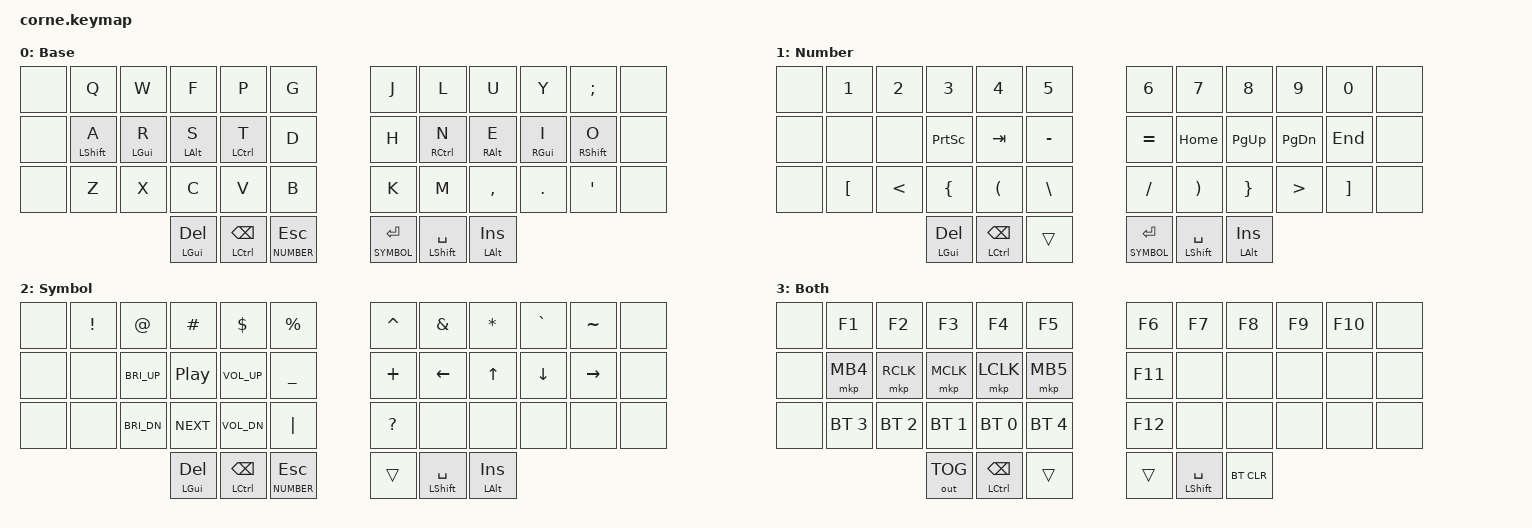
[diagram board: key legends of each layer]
/* vim: set filetype=dts : */
/* TODO: Fix layout in comment */
/* TODO: Investigate display customization once it's released */
/* TODO: Add mouse emulation once it's fully supported */
/* TODO: Add the game/qwerty layout and its layers (numbers/fn keys, mirror of right side) */
/* Use Number layer del or Symbol layer ins key to trigger, thumb key for mirror? */

/*
 * Copyright (c) 2020 The ZMK Contributors
 *
 * SPDX-License-Identifier: MIT
 */

#include <behaviors.dtsi>
#include <dt-bindings/zmk/keys.h>
#include <dt-bindings/zmk/bt.h>
#include <dt-bindings/zmk/mouse.h>
#include <dt-bindings/zmk/outputs.h>

#define BASE   0
#define NUMBER 1
#define SYMBOL 2
#define BOTH   3
// #define GAME   4


/ {
        conditional_layers {
          compatible = "zmk,conditional-layers";
          both_layer {
              if-layers = <1 2>;
              then-layer = <3>;
          };
        };
        behaviors {
          pt: preferred_mod_tap {
              compatible = "zmk,behavior-hold-tap";
              #binding-cells = <2>;
              flavor = "tap-preferred";
              tapping-term-ms = <180>;
              quick-tap-ms = <180>;
              require-prior-idle-ms = <110>;
              bindings = <&kp>, <&kp>;
          };
          tt: thumb_mod_tap {
              compatible = "zmk,behavior-hold-tap";
              #binding-cells = <2>;
              flavor = "balanced";
              tapping-term-ms = <180>;
              quick-tap-ms = <180>;
              // require-prior-idle-ms = <110>; // <-- Check if this is necessary
              bindings = <&kp>, <&kp>;

          };
        };
        keymap {
                compatible = "zmk,keymap";

                default_layer {
// -----------------------------------------------------------------------------------------
// |  TAB |  Q  |  W  |  E  |  R  |  T  |   |  Y  |  U   |  I  |  O  |  P  | BKSP |
// | CTRL |  A  |  S  |  D  |  F  |  G  |   |  H  |  J   |  K  |  L  |  ;  |  '   |
// | SHFT |  Z  |  X  |  C  |  V  |  B  |   |  N  |  M   |  ,  |  .  |  /  | ESC  |
//                    | GUI | LWR | SPC |   | ENT | RSE  | ALT |
                        display-name = "Base";
                        bindings = <
   &none &kp Q         &kp W        &kp F        &kp P          &kp G          &kp J          &kp L           &kp U        &kp Y       &kp SEMI     &none
   &none &pt LSHFT A   &pt LGUI R   &pt LALT S   &pt LCTRL T    &kp D          &kp H          &pt RCTRL N     &pt RALT E   &pt RGUI I  &pt RSHFT O  &none
   &none &kp Z         &kp X        &kp C        &kp V          &kp B          &kp K          &kp M           &kp COMMA    &kp DOT     &kp SQT      &none
                                    &tt LGUI DEL &tt LCTRL BSPC &lt NUMBER ESC &lt SYMBOL RET &tt LSHFT SPACE &tt LALT INS
                        >;
                };
                number_layer {
// -----------------------------------------------------------------------------------------
// |  TAB |  1  |  2  |  3  |  4  |  5  |   |  6  |  7  |  8  |  9  |  0  | BKSP |
// | BTCLR| BT1 | BT2 | BT3 | BT4 | BT5 |   | LFT | DWN |  UP | RGT |     |      |
// | SHFT |     |     |     |     |     |   |     |     |     |     |     |      |
//                    | GUI |     | SPC |   | ENT |     | ALT |
                        display-name = "Number";
                        bindings = <
   &none &kp N1        &kp N2       &kp N3       &kp N4         &kp N5         &kp N6         &kp N7          &kp N8       &kp N9      &kp N0       &none
   &none &none         &none        &kp PSCRN    &kp TAB        &kp MINUS      &kp EQUAL      &kp HOME        &kp PG_UP    &kp PG_DN   &kp END      &none
   &none &kp LBKT      &kp LT       &kp LBRC     &kp LPAR       &kp BSLH       &kp FSLH       &kp RPAR        &kp RBRC     &kp GT      &kp RBKT     &none
                                    &tt LGUI DEL &tt LCTRL BSPC &trans         &lt SYMBOL RET &tt LSHFT SPACE &tt LALT INS
                        >;
                };

                symbol_layer {
// -----------------------------------------------------------------------------------------
// |  TAB |  !  |  @  |  #  |  $  |  %  |   |  ^  |  &  |  *  |  (  |  )  | BKSP |
// | CTRL |     |     |     |     |     |   |  -  |  =  |  [  |  ]  |  \  |  `   |
// | SHFT |     |     |     |     |     |   |  _  |  +  |  {  |  }  | "|" |  ~   |
//                    | GUI |     | SPC |   | ENT |     | ALT |
                        display-name = "Symbol";
                        bindings = <
   &none &kp EXCL      &kp AT       &kp HASH     &kp DLLR       &kp PRCNT      &kp CARET      &kp AMPS        &kp STAR     &kp GRAVE  &kp TILDE     &none
   &none &none         &kp C_BRI_UP &kp C_PP     &kp C_VOL_UP   &kp UNDER      &kp PLUS       &kp LEFT        &kp UP       &kp DOWN   &kp RIGHT     &none
   &none &none         &kp C_BRI_DN &kp C_NEXT   &kp C_VOL_DN   &kp PIPE       &kp QMARK      &none           &none        &none      &none         &none
                                    &tt LGUI DEL &tt LCTRL BSPC &lt NUMBER ESC &trans         &tt LSHFT SPACE &tt LALT INS
                        >;
                };

                both_layer {
// -----------------------------------------------------------------------------------------
// |  TAB |  !  |  @  |  #  |  $  |  %  |   |  ^  |  &  |  *  |  (  |  )  | BKSP |
// | CTRL |     |     |     |     |     |   |  -  |  =  |  [  |  ]  |  \  |  `   |
// | SHFT |     |     |     |     |     |   |  _  |  +  |  {  |  }  | "|" |  ~   |
//                    | GUI |     | SPC |   | ENT |     | ALT |
                        display-name = "Both";
                        bindings = <
   &none &kp F1        &kp F2       &kp F3       &kp F4         &kp F5         &kp F6         &kp F7          &kp F8       &kp F9      &kp F10      &none
   &none &mkp MB4      &mkp RCLK    &mkp MCLK    &mkp LCLK      &mkp MB5       &kp F11        &none           &none        &none       &none        &none // TODO: right: MMOV
   &none &bt BT_SEL 3  &bt BT_SEL 2 &bt BT_SEL 1 &bt BT_SEL 0   &bt BT_SEL 4   &kp F12        &none           &none        &none       &none        &none // TODO: right: MWHL
                                    &out OUT_TOG &tt LCTRL BSPC &trans         &trans         &tt LSHFT SPACE &bt BT_CLR
                        >;
                };

                extra_1 {
                        status = "reserved";
                };

                extra_2 {
                        status = "reserved";
                };

                extra_3 {
                        status = "reserved";
                };
        };
};
